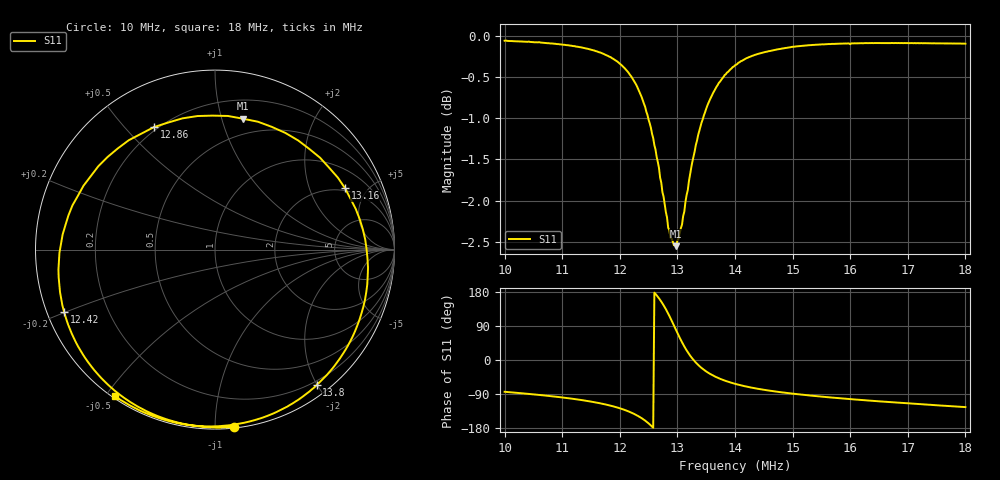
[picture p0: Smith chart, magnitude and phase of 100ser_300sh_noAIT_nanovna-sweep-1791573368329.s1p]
! NanoVNA Web complex sweep
! Processing: original sample grid, no browser smoothing
# Hz S RI R 50
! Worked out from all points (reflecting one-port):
!   401 points, 10 MHz to 18 MHz, reference 50 ohm
!   lowest |S11| = -2.5 dB at 12.98 MHz (marker M1), VSWR 6.86, Z = 17.8 + j58.5 ohm
!   phase of S11 starts at -84 deg and turns -400 deg over the sweep
!   S11 on the Smith chart (normalised r, x): 10 MHz: 0.01, -1.11; 12.42 MHz: 0.05, -0.20; 12.86 MHz: 0.19, +0.60; 13.16 MHz: 1.84, +3.53; 13.8 MHz: 0.14, -1.99; 18 MHz: 0.01, -0.53
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1e7  0.1061 -0.9871
1.1e7  -0.1513 -0.9759
1.16e7  -0.3746 -0.9037
1.2e7  -0.5838 -0.7642
1.224e7  -0.7366 -0.5833
1.242e7  -0.8412 -0.3451
1.256e7  -0.8695 -0.0648
1.266e7  -0.8166 0.1904
1.276e7  -0.6501 0.4644
1.28e7  -0.5426 0.5628
1.286e7  -0.3399 0.6826
1.292e7  -0.0976 0.7441
1.298e7  0.1548 0.7294
1.3e7  0.2389 0.7126
1.308e7  0.5243 0.5617
1.316e7  0.7232 0.3439
1.322e7  0.8068 0.1679
1.328e7  0.8446 0.00195
1.336e7  0.8482 -0.1956
1.346e7  0.8049 -0.3908
1.362e7  0.6962 -0.6062
1.38e7  0.5664 -0.755
1.4e7  0.4385 -0.8533
1.44e7  0.2348 -0.9461
1.5e7  0.0205 -0.9841
1.6e7  -0.2264 -0.9617
1.7e7  -0.4087 -0.9012
1.8e7  -0.5569 -0.817
